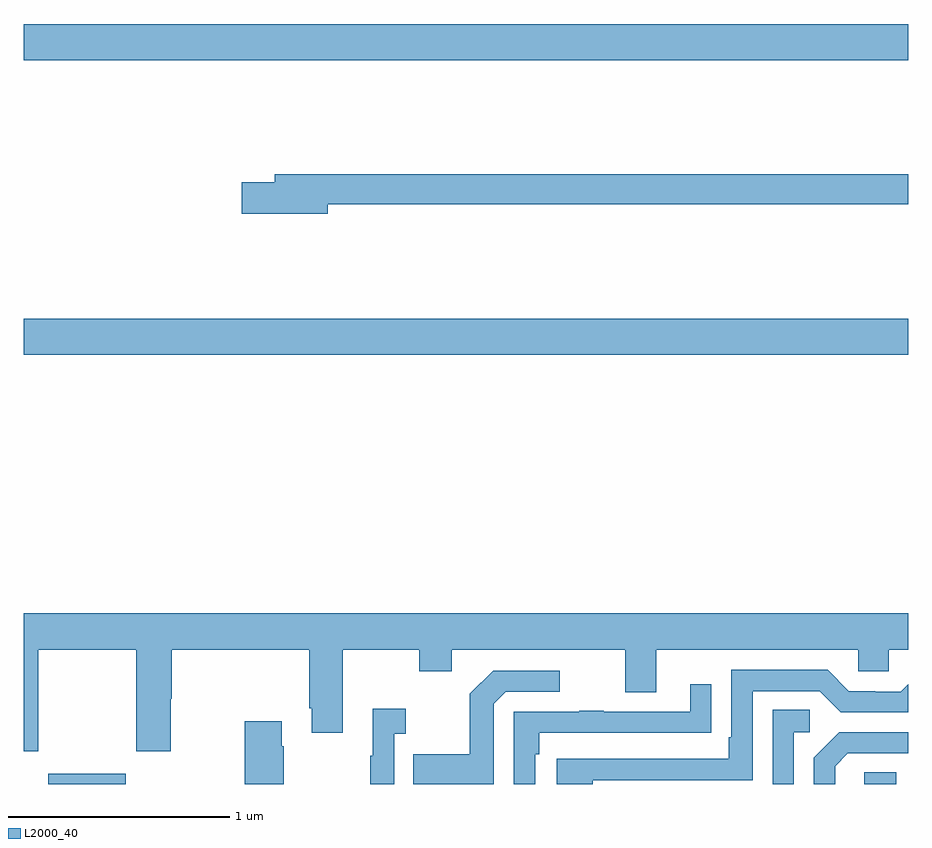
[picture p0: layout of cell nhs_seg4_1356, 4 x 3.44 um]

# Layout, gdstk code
import gdstk
lib = gdstk.Library(unit=1e-6, precision=1e-09)
def R(c, l, rs):  # rectangles x0, y0, x1, y1
    for r in rs: c.add(gdstk.rectangle(r[:2], r[2:], *l))
def P(c, l, *ps):  # polygons
    for p in ps: c.add(gdstk.Polygon(p, *l))
L2000_40 = (2000, 40)

nhs_seg4_1356 = lib.new_cell('nhs_seg4_1356')
R(nhs_seg4_1356, L2000_40, [(181.112,774.9,181.462,774.946), (184.8,774.9,184.945,774.953), (181,776.84,185,777.004), (181,778.172,185,778.336)])
P(nhs_seg4_1356, L2000_40, [(182.374,777.52),(185,777.52),(185,777.656),(182.135,777.656),(182.135,777.62),(181.986,777.62),(181.986,777.478),(182.374,777.478)],
  [(181.065,775.508),(181.51,775.508),(181.51,775.047),(181.665,775.047),(181.665,775.286),(181.67,775.286),(181.67,775.508),(182.291,775.508),(182.291,775.243),(182.303,775.243),(182.303,775.131),(182.443,775.131),(182.443,775.508),(182.788,775.508),(182.788,775.409),(182.935,775.409),(182.935,775.508),(183.719,775.508),(183.719,775.314),(183.859,775.314),(183.859,775.508),(184.773,775.508),(184.773,775.41),(184.911,775.41),(184.911,775.508),(185,775.508),(185,775.672),(181,775.672),(181,775.047),(181.065,775.047)],
  [(183.572,774.918),(184.296,774.918),(184.296,775.32),(184.599,775.32),(184.695,775.224),(185,775.224),(185,775.352),(184.965,775.317),(184.85,775.317),(184.85,775.32),(184.731,775.32),(184.635,775.416),(184.2,775.416),(184.2,775.111),(184.187,775.111),(184.187,775.014),(183.411,775.014),(183.411,774.9),(183.572,774.9)],
  [(183.126,775.263),(183.18,775.317),(183.424,775.317),(183.424,775.413),(183.123,775.413),(183.018,775.307),(183.018,775.035),(182.761,775.035),(182.761,774.9),(183.126,774.9)],
  [(183.312,775.034),(183.332,775.034),(183.332,775.131),(184.007,775.131),(184.007,775.132),(184.109,775.132),(184.109,775.351),(184.013,775.351),(184.013,775.227),(183.623,775.227),(183.623,775.232),(183.511,775.232),(183.511,775.227),(183.216,775.227),(183.216,774.9),(183.312,774.9)],
  [(182.676,775.127),(182.728,775.127),(182.728,775.24),(182.579,775.24),(182.579,775.027),(182.568,775.027),(182.568,774.9),(182.676,774.9)],
  [(184.482,775.134),(184.555,775.134),(184.555,775.235),(184.386,775.235),(184.386,774.9),(184.482,774.9)],
  [(182.175,775.07),(182.167,775.07),(182.167,775.183),(182,775.183),(182,774.9),(182.175,774.9)],
  [(184.669,774.981),(184.726,775.038),(185,775.038),(185,775.134),(184.688,775.134),(184.572,775.018),(184.572,774.9),(184.669,774.9)])

lib.write_gds('nhs_seg4_1356.gds')
